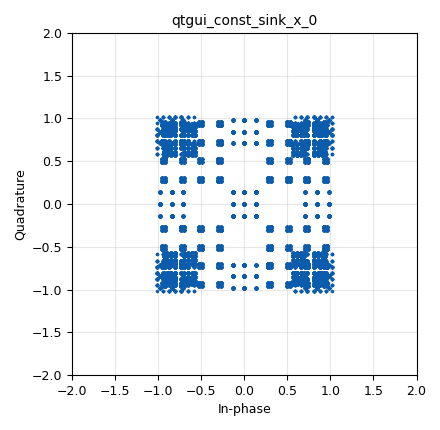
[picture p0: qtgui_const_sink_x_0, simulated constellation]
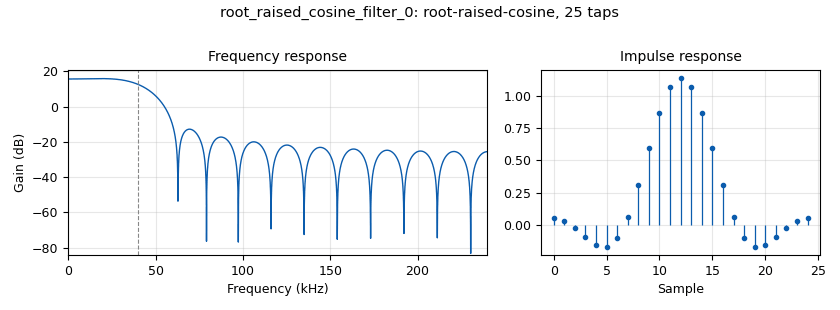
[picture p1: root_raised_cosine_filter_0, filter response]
options:
  parameters:
    author: Kolbjørn Bølgen
    generate_options: qt_gui
    id: FormatTest
    output_language: python
    title: Not titled yet
  states: {}

blocks:
- name: QPSK
  id: variable_constellation_rect
  parameters:
    const_points: '[0.707+0.707j, -0.707+0.707j, -0.707-0.707j, 0.707-0.707j]'
    imag_sect: '2'
    real_sect: '2'
    rot_sym: '4'
    sym_map: '[0,1,2,3]'
    w_imag_sect: '1'
    w_real_sect: '1'
  states: {}
- name: access_key
  id: variable
  parameters:
    comment: Training til frame-sync
    value: '''1110001101011111'''
  states: {}
- name: datarate
  id: variable
  parameters:
    value: 80e3
  states: {}
- name: excess_BW
  id: variable
  parameters:
    value: '0.45'
  states: {}
- name: hdr_format
  id: variable
  parameters:
    comment: header_format_default
    value: digital.header_format_default(access_key, 0)
  states: {}
- name: pad_periode_ms
  id: variable
  parameters:
    value: '100'
  states: {state: disabled}
- name: padding
  id: variable
  parameters:
    value: (samp_rate*pad_periode_ms/1000-signal_lengde-vindu_lengde)
  states: {state: disabled}
- name: rrc_taps
  id: variable
  parameters:
    value: firdes.root_raised_cosine(1.0,samp_rate,samp_rate/sps,excess_BW,taps)
  states: {}
- name: samp_rate
  id: variable
  parameters:
    value: int(datarate*sps)
  states: {}
- name: signal_lengde
  id: variable
  parameters:
    value: int(80*sps)
  states: {state: disabled}
- name: sps
  id: variable
  parameters:
    value: '6'
  states: {}
- name: taps
  id: variable
  parameters:
    value: sps*4
  states: {}
- name: thresh
  id: variable
  parameters:
    value: '1'
  states: {}
- name: vindu_lengde
  id: variable
  parameters:
    value: int(signal_lengde*0.2)
  states: {state: disabled}
- name: vindu_taps
  id: variable
  parameters:
    value: '[complex(t, t) for t in firdes.window(window.WIN_BLACKMAN, vindu_lengde, 0)]'
  states: {state: disabled}
- name: analog_random_uniform_source_x_0
  id: analog_random_uniform_source_x
  parameters:
    maximum: '256'
    minimum: '0'
    seed: '0'
    type: byte
  states: {}
- name: blocks_file_sink_0
  id: blocks_file_sink
  parameters:
    file: RxData.txt
    type: byte
  states: {state: disabled}
- name: blocks_file_sink_1
  id: blocks_file_sink
  parameters:
    file: SimData/TxKontData.bin
    type: complex
  states: {}
- name: blocks_file_source_0
  id: blocks_file_source
  parameters:
    file: TxData/datapakker10bytesCounter
    repeat: 'True'
    type: byte
  states: {state: disabled}
- name: blocks_head_0
  id: blocks_head
  parameters:
    num_items: samp_rate
    type: complex
  states: {}
- name: blocks_message_debug_0
  id: blocks_message_debug
  parameters: {}
  states: {state: disabled}
- name: blocks_pack_k_bits_bb_0
  id: blocks_pack_k_bits_bb
  parameters:
    k: '2'
  states: {}
- name: blocks_repack_bits_bb_0
  id: blocks_repack_bits_bb
  parameters:
    endianness: gr.GR_MSB_FIRST
    k: '8'
    l: '1'
    len_tag_key: '"packet_len"'
  states: {}
- name: blocks_repack_bits_bb_0_0
  id: blocks_repack_bits_bb
  parameters:
    endianness: gr.GR_MSB_FIRST
    k: '1'
    l: '8'
    len_tag_key: '"packet_len"'
  states: {state: disabled}
- name: blocks_skiphead_0_0
  id: blocks_skiphead
  parameters:
    num_items: int(taps/2)
    type: complex
  states: {state: disabled}
- name: blocks_stream_to_tagged_stream_0
  id: blocks_stream_to_tagged_stream
  parameters:
    comment: 10 bytes datapakker
    len_tag_key: '"packet_len"'
    packet_len: '10'
    type: byte
  states: {}
- name: blocks_stream_to_tagged_stream_1
  id: blocks_stream_to_tagged_stream
  parameters:
    len_tag_key: '"burst_len"'
    packet_len: signal_lengde
    type: complex
  states: {state: disabled}
- name: blocks_tagged_stream_multiply_length_0
  id: blocks_tagged_stream_multiply_length
  parameters:
    c: '4'
    lengthtagname: packet_len
    type: complex
  states: {state: disabled}
- name: blocks_tagged_stream_mux_0_0_0
  id: blocks_tagged_stream_mux
  parameters:
    comment: 6 bytes + 14 bytes
    lengthtagname: packet_len
    ninputs: '2'
    type: byte
  states: {}
- name: blocks_throttle2_0
  id: blocks_throttle2
  parameters:
    samples_per_second: samp_rate
    type: complex
  states: {state: disabled}
- name: blocks_throttle2_0_0
  id: blocks_throttle2
  parameters:
    samples_per_second: samp_rate
    type: complex
  states: {}
- name: blocks_uchar_to_float_0_0_0
  id: blocks_uchar_to_float
  parameters: {}
  states: {state: disabled}
- name: blocks_unpack_k_bits_bb_0
  id: blocks_unpack_k_bits_bb
  parameters:
    comment: 2 bits per symbol
    k: '2'
  states: {state: disabled}
- name: digital_burst_shaper_xx_0
  id: digital_burst_shaper_xx
  parameters:
    insert_phasing: 'True'
    length_tag_name: '"burst_len"'
    post_padding: int(padding/2)
    pre_padding: int(padding/2)
    type: complex
    window: vindu_taps
  states: {state: disabled}
- name: digital_constellation_decoder_cb_0
  id: digital_constellation_decoder_cb
  parameters:
    constellation: QPSK
  states: {state: disabled}
- name: digital_constellation_encoder_bc_0
  id: digital_constellation_encoder_bc
  parameters:
    constellation: QPSK
  states: {}
- name: digital_correlate_access_code_xx_ts_0
  id: digital_correlate_access_code_xx_ts
  parameters:
    access_code: access_key
    comment: Preamble/Header Detector + Frame Sync
    tagname: packet_len
    threshold: thresh
    type: byte
  states: {state: disabled}
- name: digital_crc32_bb_0
  id: digital_crc32_bb
  parameters:
    check: 'False'
    comment: |-
      4 bytes CRC
      14 bytes, akkumulert
    lengthtagname: '"packet_len"'
    packed: 'True'
  states: {}
- name: digital_crc32_bb_1
  id: digital_crc32_bb
  parameters:
    check: 'True'
    lengthtagname: '"packet_len"'
    packed: 'True'
  states: {state: disabled}
- name: digital_diff_decoder_bb_0
  id: digital_diff_decoder_bb
  parameters:
    coding: digital.DIFF_DIFFERENTIAL
    comment: Fjerner Fasetvetydighet
    modulus: '4'
  states: {state: disabled}
- name: digital_diff_encoder_bb_0
  id: digital_diff_encoder_bb
  parameters:
    coding: digital.DIFF_DIFFERENTIAL
    modulus: '4'
  states: {}
- name: digital_protocol_formatter_bb_0
  id: digital_protocol_formatter_bb
  parameters:
    comment: |-
      6 bytes header
      2 bytes: Access_key
      4 bytes: pakkelengde, repeat x 2
    format: hdr_format
    len_tag_key: '"packet_len"'
  states: {}
- name: fir_filter_xxx_0
  id: fir_filter_xxx
  parameters:
    decim: sps
    taps: rrc_taps
    type: ccf
  states: {state: disabled}
- name: import_0
  id: import
  parameters:
    imports: from math import pi
  states: {}
- name: import_0_0
  id: import
  parameters:
    imports: from math import sqrt
  states: {}
- name: pdu_tagged_stream_to_pdu_2
  id: pdu_tagged_stream_to_pdu
  parameters:
    tag: packet_len
    type: byte
  states: {state: disabled}
- name: qtgui_const_sink_x_0
  id: qtgui_const_sink_x
  parameters:
    size: int(samp_rate/10)
    type: complex
  states: {}
- name: qtgui_time_sink_x_0
  id: qtgui_time_sink_x
  parameters:
    grid: 'True'
    size: int(samp_rate*pad_periode_ms/100)
    srate: samp_rate
    tr_level: '0.5'
    tr_mode: qtgui.TRIG_MODE_TAG
    tr_tag: '"burst_len"'
    type: complex
    ymax: '1.5'
    ymin: '-1.5'
  states: {state: disabled}
- name: qtgui_time_sink_x_0_0
  id: qtgui_time_sink_x
  parameters:
    gui_hint: 1,2,1,2
    label1: ''
    name: Correlate Output
    size: '256'
    srate: samp_rate
    tr_delay: '0.0'
    tr_level: '0.1'
    tr_mode: qtgui.TRIG_MODE_TAG
    tr_tag: '"packet_len"'
    type: float
    ymax: '1.1'
    ymin: '-0.1'
  states: {state: disabled}
- name: qtgui_time_sink_x_0_1
  id: qtgui_time_sink_x
  parameters:
    autoscale: 'True'
    grid: 'True'
    size: 640*2
    srate: samp_rate
    tr_level: '0.5'
    tr_mode: qtgui.TRIG_MODE_TAG
    tr_tag: '"packet_len"'
    type: complex
  states: {state: disabled}
- name: qtgui_time_sink_x_0_1_0
  id: qtgui_time_sink_x
  parameters:
    autoscale: 'True'
    grid: 'True'
    size: int(samp_rate/8/5)
    srate: samp_rate/8
    tr_level: '0.5'
    tr_mode: qtgui.TRIG_MODE_TAG
    tr_tag: '"burst_len"'
    type: complex
  states: {state: disabled}
- name: root_raised_cosine_filter_0
  id: root_raised_cosine_filter
  parameters:
    alpha: excess_BW
    gain: sps
    interp: sps
    ntaps: taps
    samp_rate: samp_rate
    sym_rate: samp_rate/sps
    type: interp_fir_filter_ccf
  states: {}
- name: virtual_sink_0
  id: virtual_sink
  parameters:
    comment: Tx
    stream_id: Pluto
  states: {state: disabled}
- name: virtual_sink_0_2_1
  id: virtual_sink
  parameters:
    comment: 1 pakke = 20 bytes
    stream_id: Pakke
  states: {}
- name: virtual_source_0
  id: virtual_source
  parameters:
    comment: Rx
    stream_id: Pluto
  states: {state: disabled}
- name: virtual_source_1
  id: virtual_source
  parameters:
    stream_id: Pakke
  states: {}

connections:
- [analog_random_uniform_source_x_0, '0', blocks_stream_to_tagged_stream_0, '0']
- [blocks_file_source_0, '0', blocks_stream_to_tagged_stream_0, '0']
- [blocks_head_0, '0', blocks_file_sink_1, '0']
- [blocks_pack_k_bits_bb_0, '0', digital_diff_encoder_bb_0, '0']
- [blocks_repack_bits_bb_0, '0', virtual_sink_0_2_1, '0']
- [blocks_repack_bits_bb_0_0, '0', digital_crc32_bb_1, '0']
- [blocks_skiphead_0_0, '0', blocks_tagged_stream_multiply_length_0, '0']
- [blocks_stream_to_tagged_stream_0, '0', digital_crc32_bb_0, '0']
- [blocks_stream_to_tagged_stream_1, '0', digital_burst_shaper_xx_0, '0']
- [blocks_stream_to_tagged_stream_1, '0', qtgui_time_sink_x_0_1, '0']
- [blocks_tagged_stream_multiply_length_0, '0', blocks_stream_to_tagged_stream_1, '0']
- [blocks_tagged_stream_mux_0_0_0, '0', blocks_repack_bits_bb_0, '0']
- [blocks_throttle2_0, '0', qtgui_time_sink_x_0, '0']
- [blocks_throttle2_0, '0', virtual_sink_0, '0']
- [blocks_throttle2_0_0, '0', blocks_head_0, '0']
- [blocks_throttle2_0_0, '0', qtgui_const_sink_x_0, '0']
- [blocks_uchar_to_float_0_0_0, '0', qtgui_time_sink_x_0_0, '0']
- [blocks_unpack_k_bits_bb_0, '0', digital_correlate_access_code_xx_ts_0, '0']
- [digital_burst_shaper_xx_0, '0', blocks_throttle2_0, '0']
- [digital_constellation_decoder_cb_0, '0', digital_diff_decoder_bb_0, '0']
- [digital_constellation_encoder_bc_0, '0', root_raised_cosine_filter_0, '0']
- [digital_correlate_access_code_xx_ts_0, '0', blocks_repack_bits_bb_0_0, '0']
- [digital_correlate_access_code_xx_ts_0, '0', blocks_uchar_to_float_0_0_0, '0']
- [digital_crc32_bb_0, '0', blocks_tagged_stream_mux_0_0_0, '1']
- [digital_crc32_bb_0, '0', digital_protocol_formatter_bb_0, '0']
- [digital_crc32_bb_1, '0', blocks_file_sink_0, '0']
- [digital_crc32_bb_1, '0', pdu_tagged_stream_to_pdu_2, '0']
- [digital_diff_decoder_bb_0, '0', blocks_unpack_k_bits_bb_0, '0']
- [digital_diff_encoder_bb_0, '0', digital_constellation_encoder_bc_0, '0']
- [digital_protocol_formatter_bb_0, '0', blocks_tagged_stream_mux_0_0_0, '0']
- [fir_filter_xxx_0, '0', digital_constellation_decoder_cb_0, '0']
- [fir_filter_xxx_0, '0', qtgui_time_sink_x_0_1_0, '0']
- [pdu_tagged_stream_to_pdu_2, pdus, blocks_message_debug_0, log]
- [root_raised_cosine_filter_0, '0', blocks_skiphead_0_0, '0']
- [root_raised_cosine_filter_0, '0', blocks_throttle2_0_0, '0']
- [virtual_source_0, '0', fir_filter_xxx_0, '0']
- [virtual_source_1, '0', blocks_pack_k_bits_bb_0, '0']

metadata:
  file_format: 1
  grc_version: 3.10.9.2
